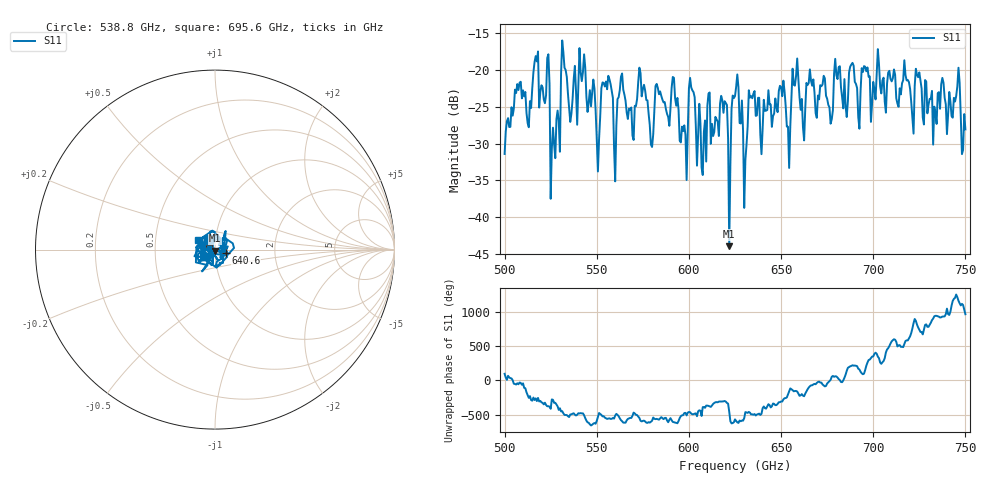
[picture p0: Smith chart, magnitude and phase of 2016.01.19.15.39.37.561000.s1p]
!Created with skrf (http://scikit-rf.org).
# GHz S RI R 50.0
!freq ReS11 ImS11
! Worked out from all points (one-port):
!   401 points, 500 GHz to 750 GHz, reference 50 ohm
!   lowest |S11| = -43.9 dB at 621.9 GHz (marker M1), VSWR 1.01, Z = 49.9 - j0.631 ohm
!   |S11| at or under -10 dB: start of sweep to end of sweep
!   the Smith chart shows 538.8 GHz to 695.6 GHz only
!   S11 on the Smith chart (normalised r, x): 538.8 GHz: 0.88, -0.06; 640.6 GHz: 1.13, -0.05; 695.6 GHz: 0.83, +0.09
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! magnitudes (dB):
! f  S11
! 500 GHz  -31.4
! 513.1 GHz  -27.8
! 516.9 GHz  -18.1
! 523.1 GHz  -18.3
! 526.2 GHz  -27.8
! 531.2 GHz  -16.0
! 538.8 GHz  -22.9
! 541.9 GHz  -21.5
! 550.6 GHz  -33.8
! 553.8 GHz  -21.7
! 560 GHz  -35.1
! 562.5 GHz  -22.7
! 593.8 GHz  -23.8
! 598.1 GHz  -28.8
! 601.2 GHz  -22.4
! 608.1 GHz  -28.4
! 618.8 GHz  -25.8
! 621.9 GHz  -43.9
! 625 GHz  -23.5
! 630.6 GHz  -32.2
! 633.8 GHz  -23.5
! 640.6 GHz  -24.0
! 656.2 GHz  -19.8
! 687.5 GHz  -19.5
! 695.6 GHz  -19.5
! 718.8 GHz  -21.3
! 745.6 GHz  -22.2
! 750 GHz  -28.1
